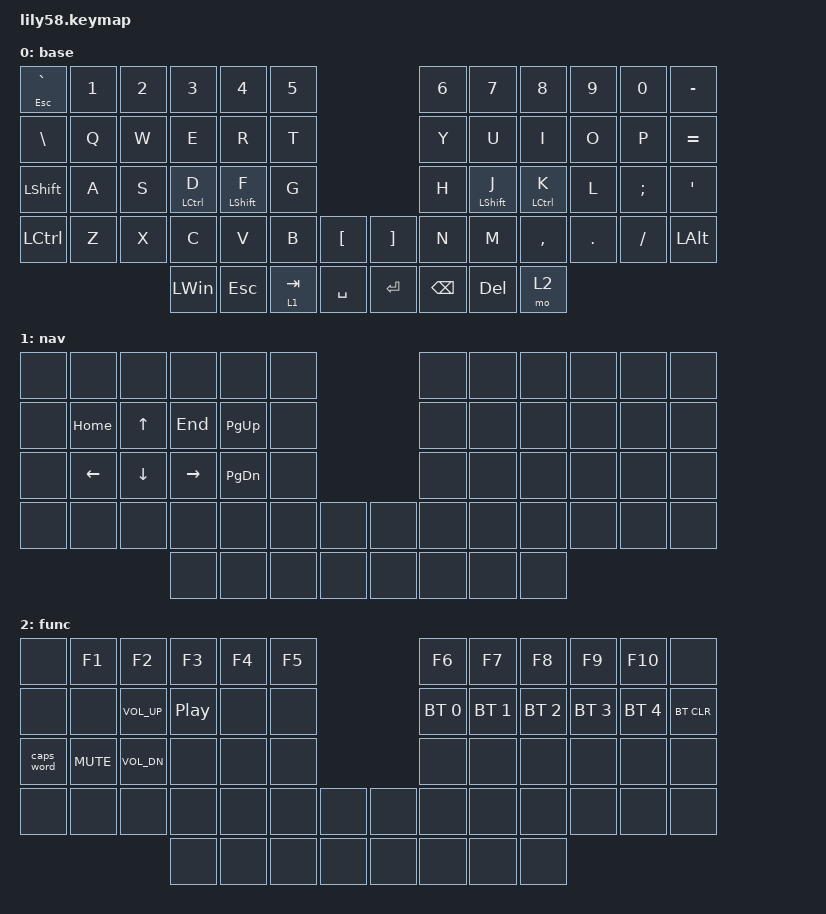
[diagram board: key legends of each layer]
/*
 * Copyright (c) 2020 The ZMK Contributors
 *
 * SPDX-License-Identifier: MIT
 */

#include <behaviors.dtsi>
#include <dt-bindings/zmk/bt.h>
#include <dt-bindings/zmk/keys.h>

&mt {
    tapping-term-ms = <250>;
    flavor = "balanced";
};

/ {
    keymap {
        compatible = "zmk,keymap";

        layer_base {
            // ------------------------------------------------------------------------------------------------------------
            // |  ESC  |  1  |  2  |  3   |  4   |  5   |                   |  6   |  7    |  8    |  9   |   0   |   `   |
            // |  TAB  |  Q  |  W  |  E   |  R   |  T   |                   |  Y   |  U    |  I    |  O   |   P   |   -   |
            // |  CTRL |  A  |  S  |  D   |  F   |  G   |                   |  H   |  J    |  K    |  L   |   ;   |   '   |
            // | SHIFT |  Z  |  X  |  C   |  V   |  B   |   "["  |  |  "]"  |  N   |  M    |  ,    |  .   |   /   | SHIFT |
            //                     | ALT  | GUI  | LOWER|  SPACE |  | ENTER | RAISE| BSPC  | GUI   |

            bindings = <
&mt ESC GRAVE   &kp N1  &kp N2  &kp N3        &kp N4            &kp N5                            &kp N6         &kp N7            &kp N8       &kp N9   &kp N0    &kp MINUS
&kp BSLH        &kp Q   &kp W   &kp E         &kp R             &kp T                             &kp Y          &kp U             &kp I        &kp O    &kp P     &kp EQUAL
&kp LEFT_SHIFT  &kp A   &kp S   &mt LCTRL D   &mt LEFT_SHIFT F  &kp G                             &kp H          &mt LEFT_SHIFT J  &mt LCTRL K  &kp L    &kp SEMI  &kp SQT
&kp LCTRL       &kp Z   &kp X   &kp C         &kp V             &kp B      &kp LBKT     &kp RBKT  &kp N          &kp M             &kp COMMA    &kp DOT  &kp FSLH  &kp LEFT_ALT
                                &kp LEFT_WIN  &kp ESCAPE        &lt 1 TAB  &kp SPACE    &kp RET   &kp BACKSPACE  &kp DELETE        &mo 2
            >;

            label = "base";
        };

        layer_nav {
            bindings = <
&none  &none     &none     &none            &none          &none                  &none  &none  &none  &none  &none  &none
&none  &kp HOME  &kp UP    &kp END          &kp PAGE_UP    &none                  &none  &none  &none  &none  &none  &none
&none  &kp LEFT  &kp DOWN  &kp RIGHT_ARROW  &kp PAGE_DOWN  &none                  &none  &none  &none  &none  &none  &none
&none  &none     &none     &none            &none          &none  &none    &none  &none  &none  &none  &none  &none  &none
                           &none            &none          &none  &none    &none  &none  &none  &none
            >;

            label = "nav";
        };

        layer_func {
            bindings = <
&none       &kp F1      &kp F2           &kp F3            &kp F4  &kp F5                  &kp F6        &kp F7        &kp F8        &kp F9        &kp F10       &none
&none       &none       &kp C_VOLUME_UP  &kp C_PLAY_PAUSE  &none   &none                   &bt BT_SEL 0  &bt BT_SEL 1  &bt BT_SEL 2  &bt BT_SEL 3  &bt BT_SEL 4  &bt BT_CLR
&caps_word  &kp K_MUTE  &kp C_VOL_DN     &none             &none   &none                   &none         &none         &none         &none         &none         &none
&none       &none       &none            &none             &none   &none   &none    &none  &none         &none         &none         &none         &none         &none
                                         &none             &none   &none   &none    &none  &none         &none         &none
            >;

            label = "func";
        };
    };
};
